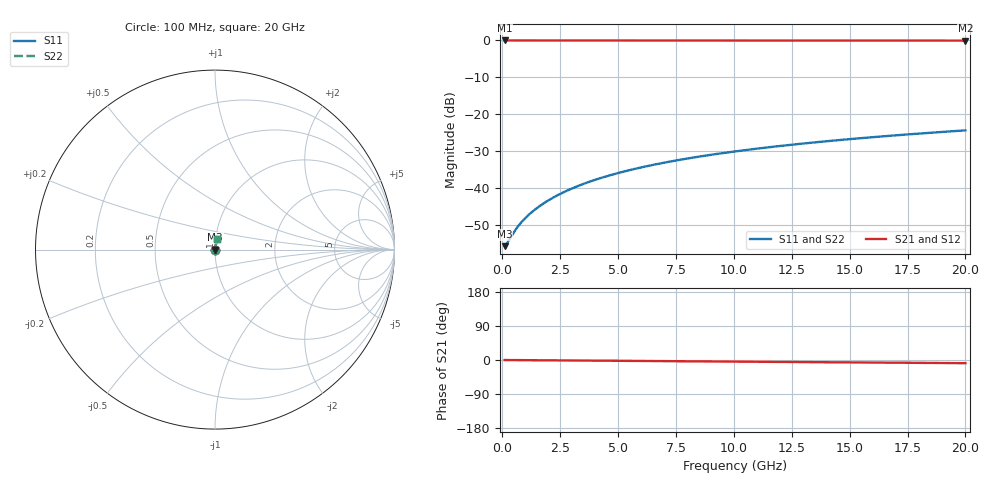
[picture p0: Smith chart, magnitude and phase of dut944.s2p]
! Touchstone file exported from HFSS 2026.1.0
!  File:  C:/ffzhzh/LocalFiles/Ansys_Project_Files/temp_train_TMRDL_944_1783158565_43440.aedt
!  Generated:  05:50:32 PM Jul  4, 2026
!  Design:  TMRDL
!  Project:  temp_train_TMRDL_944_1783158565_43440
! Variables:
!  h_bsmrdl = 2um
!  h_ox = 20um
!  h_rdl = 5um
!  h_sub = 80um
!  h_tmrdl = 2.51um
!  h_tsv = 80um
!  h_via = 3um
!  l_bsmrdl = 300um
!  l_sub = 524.04um
!  l_tmrdl = 124.04um
!  m_sub = 200um
!  pitch = 21.02um
!  r_tsv = 6um
!  s_tmrdl = 10um
!  w_bsmrdl = 18um
!  w_sub = 500um
!  w_tmrdl = 13.26um
!  x_tsv_center1 = 130.67um
!  x_tsv_center2 = 448.67um
!  x_tsv_center3 = 585.97um
!  x_tsv_center4 = 903.97um
!  x_tsv_center5 = 1041.27um
!  x_tsv_center6 = 1359.27um
# GHz S MA R 50.000000
! Terminal data exported
! Port[1] = TM_RDL1_1_T1
! Port[2] = TM_RDL1_1_T2
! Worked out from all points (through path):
!   200 points, 100 MHz to 20 GHz, reference 50 ohm
!   highest |S21| = -0.01 dB at 100 MHz (marker M1); lowest = -0.1 dB at 20 GHz (marker M2)
!   group delay of S21, straight-line fit = 1.16 ps
!   lowest |S11| = -55.7 dB at 100 MHz (marker M3), VSWR 1.00, Z = 50.2 + j0.0387 ohm
!   |S11| at or under -10 dB: start of sweep to end of sweep
!   |S22| runs from -55.7 to -24.4 dB; largest |S21 - S12| = 3.1e-15
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0.1  0.001637 13.6  0.9984 -0.0  0.9984 -0.0  0.001637 13.6
! Gamma 0 0 0 0
! Port Impedance 50 0 50 0
0.2  0.001789 25.3  0.9984 -0.1  0.9984 -0.1  0.001789 25.3
0.5  0.002534 46.3  0.9983 -0.2  0.9983 -0.2  0.002534 46.3
0.6  0.002815 50.2  0.9982 -0.3  0.9982 -0.3  0.002815 50.2
0.8  0.003382 56.0  0.9981 -0.4  0.9981 -0.4  0.003382 56.0
1.1  0.004235 61.8  0.998 -0.5  0.998 -0.5  0.004235 61.8
1.4  0.005096 65.8  0.998 -0.6  0.998 -0.6  0.005096 65.8
1.8  0.006262 69.6  0.9979 -0.8  0.9979 -0.8  0.006262 69.6
2.3  0.007747 72.8  0.9978 -1.0  0.9978 -1.0  0.007747 72.8
2.9  0.009559 75.3  0.9977 -1.2  0.9977 -1.2  0.009559 75.3
3.5  0.01139 77.0  0.9977 -1.5  0.9977 -1.5  0.01139 77.0
4.2  0.01354 78.2  0.9976 -1.8  0.9976 -1.8  0.01354 78.2
5  0.016 79.1  0.9974 -2.1  0.9974 -2.1  0.016 79.1
5.9  0.01876 79.7  0.9973 -2.5  0.9973 -2.5  0.01876 79.7
6.8  0.02152 80.0  0.9971 -2.9  0.9971 -2.9  0.02152 80.0
8.3  0.0261 80.1  0.9968 -3.5  0.9968 -3.5  0.0261 80.1
10.1  0.03154 79.9  0.9963 -4.3  0.9963 -4.3  0.03154 79.9
11.7  0.03633 79.6  0.9959 -4.9  0.9959 -4.9  0.03633 79.6
13.4  0.04137 79.1  0.9954 -5.6  0.9954 -5.6  0.04137 79.1
15  0.04607 78.7  0.9949 -6.3  0.9949 -6.3  0.04607 78.7
16.7  0.05102 78.1  0.9944 -7.0  0.9944 -7.0  0.05102 78.1
20  0.06051 77.0  0.9933 -8.4  0.9933 -8.4  0.06051 77.0
